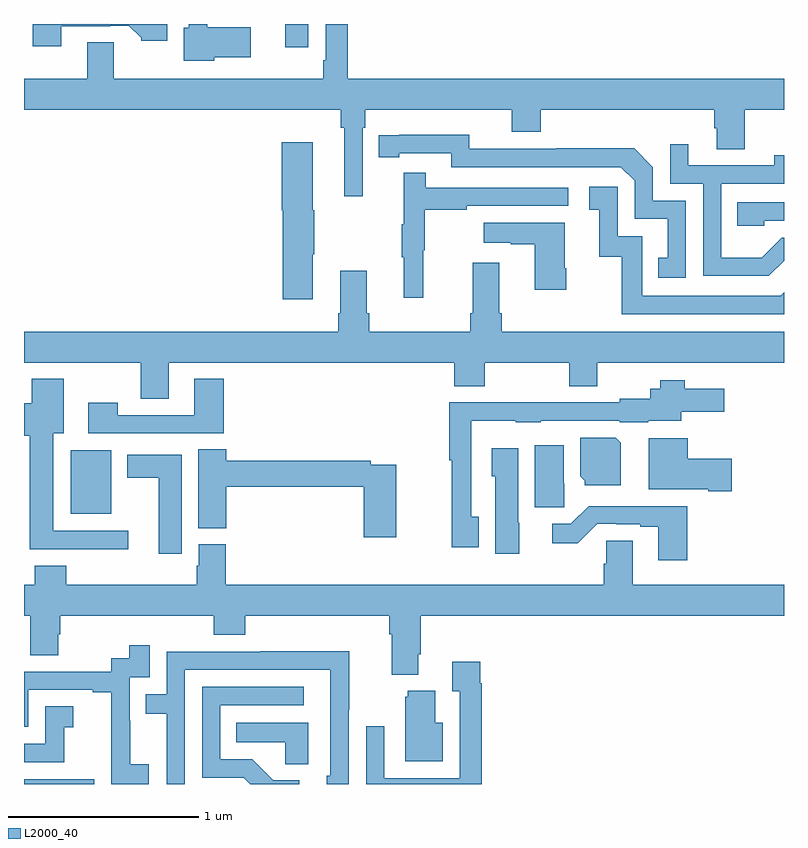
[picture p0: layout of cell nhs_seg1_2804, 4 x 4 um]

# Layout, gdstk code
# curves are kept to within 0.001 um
import gdstk
lib = gdstk.Library(unit=1e-6, precision=1e-09)
def R(c, l, rs):  # rectangles x0, y0, x1, y1
    for r in rs: c.add(gdstk.rectangle(r[:2], r[2:], *l))
def P(c, l, *ps):  # polygons
    for p in ps: c.add(gdstk.Polygon(p, *l))
L2000_40 = (2000, 40)

nhs_seg1_2804 = lib.new_cell('nhs_seg1_2804')
R(nhs_seg1_2804, L2000_40, [(263,532.199,263.37,532.224), (263.246,533.621,263.458,533.956), (264.374,536.076,264.496,536.199)])
P(nhs_seg1_2804, L2000_40, [(264.783,535.652),(264.797,535.652),(264.797,535.748),(265.568,535.748),(265.568,535.631),(265.721,535.631),(265.721,535.748),(266.633,535.748),(266.633,535.65),(266.645,535.65),(266.645,535.54),(266.793,535.54),(266.793,535.748),(267,535.748),(267,535.912),(264.704,535.912),(264.704,536.199),(264.588,536.199),(264.588,536.008),(264.576,536.008),(264.576,535.912),(263.473,535.912),(263.473,536.102),(263.333,536.102),(263.333,535.912),(263,535.912),(263,535.748),(264.667,535.748),(264.667,535.652),(264.686,535.652),(264.686,535.293),(264.783,535.293)],
  [(263.197,536.187),(263.453,536.187),(263.453,536.19),(263.552,536.19),(263.616,536.126),(263.616,536.111),(263.755,536.111),(263.755,536.199),(263.045,536.199),(263.045,536.082),(263.197,536.082)],
  [(264,536.024),(264.193,536.024),(264.193,536.182),(263.964,536.182),(263.964,536.199),(263.868,536.199),(263.868,536.178),(263.84,536.178),(263.84,536.006),(264,536.006)],
  [(266.484,535.269),(266.31,535.269),(266.31,535.446),(266.212,535.544),(265.804,535.544),(265.804,535.542),(265.344,535.542),(265.344,535.615),(264.868,535.614),(264.868,535.498),(264.976,535.498),(264.976,535.518),(265.248,535.518),(265.248,535.446),(266.142,535.446),(266.214,535.374),(266.214,535.173),(266.387,535.173),(266.387,534.969),(266.338,534.969),(266.338,534.864),(266.484,534.864)],
  [(264.52,534.988),(264.528,534.988),(264.528,535.218),(264.52,535.218),(264.52,535.576),(264.356,535.576),(264.356,535.218),(264.362,535.218),(264.362,534.75),(264.52,534.75)],
  [(267,534.953),(267,535.074),(266.988,535.074),(266.884,534.97),(266.67,534.97),(266.67,535.359),(267,535.359),(267,535.507),(266.948,535.507),(266.948,535.455),(266.497,535.455),(266.497,535.567),(266.4,535.567),(266.4,535.359),(266.574,535.359),(266.574,534.873),(266.92,534.873)],
  [(265.1,535.008),(265.108,535.008),(265.108,535.222),(265.331,535.222),(265.331,535.242),(265.864,535.242),(265.864,535.338),(265.115,535.338),(265.115,535.417),(264.998,535.417),(264.998,535.145),(264.987,535.145),(264.987,534.971),(264.998,534.971),(264.998,534.759),(265.1,534.759)],
  [(267,534.786),(266.982,534.768),(266.253,534.768),(266.253,535.083),(266.124,535.083),(266.124,535.342),(265.974,535.342),(265.974,535.221),(266.027,535.221),(266.027,534.975),(266.145,534.975),(266.145,534.672),(267,534.672)],
  [(266.895,535.164),(267,535.164),(267,535.26),(266.755,535.26),(266.755,535.137),(266.895,535.137)],
  [(265.854,534.913),(265.846,534.913),(265.846,535.153),(265.419,535.153),(265.419,535.049),(265.562,535.049),(265.562,535.039),(265.688,535.039),(265.688,534.801),(265.854,534.801)],
  [(263.761,534.416),(265.265,534.416),(265.265,534.292),(265.425,534.292),(265.425,534.416),(265.87,534.416),(265.87,534.292),(266.017,534.292),(266.017,534.416),(267,534.416),(267,534.58),(265.514,534.58),(265.514,534.676),(265.501,534.676),(265.501,534.943),(265.361,534.943),(265.361,534.676),(265.349,534.676),(265.349,534.58),(264.818,534.58),(264.818,534.676),(264.805,534.676),(264.805,534.901),(264.665,534.901),(264.665,534.676),(264.653,534.676),(264.653,534.58),(263,534.58),(263,534.416),(263.614,534.416),(263.614,534.226),(263.761,534.226)],
  [(264.05,534.331),(263.897,534.331),(263.897,534.141),(263.493,534.141),(263.493,534.205),(263.337,534.205),(263.337,534.045),(264.05,534.045)],
  [(263.548,533.532),(263.155,533.532),(263.155,534.044),(263.209,534.044),(263.209,534.331),(263.042,534.331),(263.042,534.202),(263,534.202),(263,534.032),(263.03,534.032),(263.03,533.435),(263.548,533.435)],
  [(265.393,533.606),(265.353,533.606),(265.353,534.11),(265.587,534.11),(265.587,534.104),(265.719,534.104),(265.719,534.111),(266.136,534.111),(266.136,534.104),(266.286,534.104),(266.286,534.11),(266.458,534.11),(266.458,534.158),(266.686,534.158),(266.686,534.28),(266.477,534.28),(266.477,534.325),(266.349,534.325),(266.349,534.28),(266.297,534.28),(266.297,534.226),(266.136,534.226),(266.136,534.207),(265.719,534.207),(265.719,534.209),(265.487,534.209),(265.487,534.207),(265.237,534.207),(265.237,533.904),(265.252,533.904),(265.252,533.445),(265.393,533.445)],
  [(266.14,533.996),(266.114,534.022),(265.928,534.022),(265.928,533.818),(265.95,533.796),(265.95,533.771),(266.14,533.771)],
  [(266.725,533.911),(266.494,533.911),(266.494,534.02),(266.288,534.02),(266.288,533.75),(266.601,533.75),(266.601,533.741),(266.725,533.741)],
  [(265.844,533.778),(265.84,533.778),(265.84,533.983),(265.688,533.983),(265.688,533.655),(265.844,533.655)],
  [(265.606,533.574),(265.6,533.574),(265.6,533.965),(265.463,533.965),(265.463,533.82),(265.481,533.82),(265.481,533.412),(265.606,533.412)],
  [(264.958,533.88),(264.824,533.88),(264.824,533.9),(264.065,533.9),(264.065,533.96),(263.918,533.96),(263.918,533.545),(264.065,533.545),(264.065,533.764),(264.788,533.764),(264.788,533.499),(264.958,533.499)],
  [(263.83,533.932),(263.543,533.932),(263.543,533.81),(263.708,533.81),(263.708,533.412),(263.83,533.412)],
  [(266.492,533.662),(265.972,533.662),(265.878,533.568),(265.779,533.568),(265.779,533.466),(265.914,533.466),(266.016,533.568),(266.116,533.568),(266.116,533.565),(266.243,533.565),(266.243,533.553),(266.339,533.553),(266.339,533.376),(266.492,533.376)],
  [(265.075,532.882),(265.088,532.882),(265.088,533.084),(267,533.084),(267,533.248),(266.203,533.248),(266.203,533.48),(266.064,533.48),(266.064,533.358),(266.051,533.358),(266.051,533.248),(264.062,533.248),(264.062,533.46),(263.921,533.46),(263.921,533.349),(263.909,533.349),(263.909,533.248),(263.222,533.248),(263.222,533.347),(263.057,533.347),(263.057,533.248),(263,533.248),(263,533.084),(263.032,533.084),(263.032,532.876),(263.179,532.876),(263.179,532.986),(263.192,532.986),(263.192,533.084),(263.999,533.084),(263.999,532.985),(264.164,532.985),(264.164,533.084),(264.923,533.084),(264.923,532.988),(264.935,532.988),(264.935,532.775),(265.075,532.775)],
  [(263.656,532.303),(263.558,532.303),(263.558,532.532),(263.556,532.532),(263.556,532.761),(263.661,532.761),(263.661,532.93),(263.553,532.93),(263.553,532.86),(263.46,532.86),(263.46,532.791),(263,532.791),(263,532.5),(263.022,532.5),(263.022,532.695),(263.363,532.695),(263.363,532.683),(263.459,532.683),(263.459,532.399),(263.458,532.399),(263.458,532.199),(263.656,532.199)],
  [(263.847,532.8),(264.612,532.8),(264.612,532.242),(264.593,532.242),(264.593,532.199),(264.708,532.199),(264.708,532.591),(264.711,532.591),(264.711,532.898),(264.247,532.898),(264.247,532.896),(263.751,532.896),(263.751,532.671),(263.641,532.671),(263.641,532.57),(263.751,532.57),(263.751,532.199),(263.847,532.199)],
  [(265.409,532.73),(265.402,532.73),(265.402,532.843),(265.253,532.843),(265.253,532.687),(265.293,532.687),(265.293,532.23),(264.897,532.23),(264.897,532.504),(264.801,532.504),(264.801,532.199),(265.409,532.199)],
  [(264.448,532.218),(264.313,532.218),(264.202,532.329),(264.033,532.329),(264.033,532.614),(264.472,532.614),(264.472,532.71),(263.937,532.71),(263.937,532.233),(264.156,532.233),(264.19,532.199),(264.448,532.199)],
  [(265.204,532.522),(265.165,532.522),(265.165,532.69),(265.019,532.69),(265.019,532.659),(265.007,532.659),(265.007,532.319),(265.204,532.319)],
  [(263.211,532.499),(263.26,532.499),(263.26,532.609),(263.112,532.609),(263.112,532.41),(263,532.41),(263,532.314),(263.211,532.314)],
  [(264.496,532.522),(264.118,532.522),(264.118,532.418),(264.375,532.418),(264.375,532.303),(264.496,532.303)])

lib.write_gds('nhs_seg1_2804.gds')
